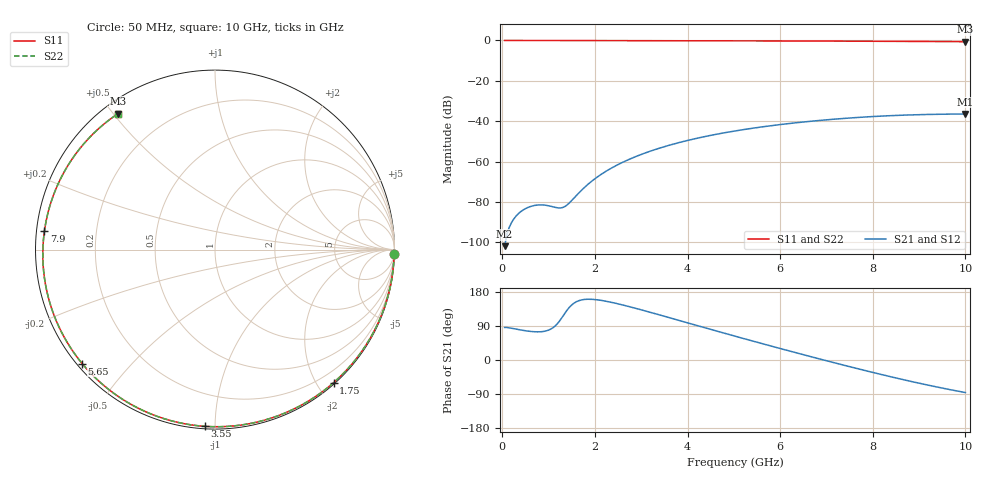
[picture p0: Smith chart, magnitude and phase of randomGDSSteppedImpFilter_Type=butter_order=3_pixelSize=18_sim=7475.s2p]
! freq	dB(S11)	phase(S11)	dB(S12)	phase(S12)
!  dB(S21)	phase(S21)	dB(S22)	phase(S22)
!S-par simulation data
#  GHz  S  DB  R 50
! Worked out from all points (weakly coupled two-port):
!   200 points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, 50 MHz to 10 GHz, reference 50 ohm
!   highest |S21| = -36.46 dB at 10 GHz (marker M1); lowest = -101.9 dB at 50 MHz (marker M2)
!   lowest |S11| = -0.6 dB at 10 GHz (marker M3), VSWR 27.84, Z = 2.27 + j25.7 ohm
!   |S11| at or under -10 dB: nowhere
!   |S22| runs from -0.6 to 0.0 dB; largest |S21 - S12| = 0
!   S11 on the Smith chart (normalised r, x): 50 MHz: 4, -84; 1.75 GHz: 0.02, -2.23; 3.55 GHz: 0.01, -0.95; 5.65 GHz: 0.01, -0.37; 7.9 GHz: 0.02, +0.06; 10 GHz: 0.05, +0.51
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0.05  -0.01 -1.4  -101.91 86.0  -101.91 86.0  -0.01 -1.4
0.35  -0.02 -9.9  -85.75 80.3  -85.75 80.3  -0.02 -9.9
0.7  -0.03 -19.7  -81.73 74.5  -81.73 74.5  -0.03 -19.7
1.05  -0.04 -29.4  -82.14 81.8  -82.14 81.8  -0.04 -29.4
1.45  -0.05 -40.3  -80.45 139.3  -80.45 139.3  -0.05 -40.3
1.5  -0.05 -41.6  -79.28 145.4  -79.28 145.4  -0.05 -41.6
1.75  -0.06 -48.3  -73.34 159.4  -73.34 159.4  -0.06 -48.3
2.05  -0.07 -56.2  -67.67 158.8  -67.67 158.8  -0.07 -56.2
2.45  -0.08 -66.4  -62.08 149.6  -62.08 149.6  -0.08 -66.4
2.9  -0.10 -77.6  -57.36 135.7  -57.36 135.7  -0.10 -77.6
3.4  -0.11 -89.7  -53.32 118.9  -53.32 118.9  -0.11 -89.6
3.55  -0.12 -93.2  -52.28 113.7  -52.28 113.7  -0.12 -93.2
4.25  -0.15 -109.2  -48.22 89.4  -48.22 89.4  -0.15 -109.2
5.05  -0.18 -126.7  -44.74 62.0  -44.74 62.0  -0.18 -126.6
5.65  -0.22 -139.4  -42.70 41.9  -42.70 41.9  -0.22 -139.3
6.2  -0.25 -150.9  -41.14 23.8  -41.14 23.8  -0.25 -150.8
6.7  -0.29 -161.2  -39.94 7.6  -39.94 7.6  -0.29 -161.1
7.3  -0.34 -173.7  -38.76 -11.4  -38.76 -11.4  -0.34 -173.6
7.9  -0.39 173.6  -37.83 -29.8  -37.83 -29.8  -0.39 173.7
8.35  -0.44 163.9  -37.29 -43.1  -37.29 -43.1  -0.44 164.0
9.15  -0.52 145.9  -36.68 -65.2  -36.68 -65.2  -0.52 146.0
10  -0.62 125.5  -36.46 -85.9  -36.46 -85.9  -0.62 125.6
